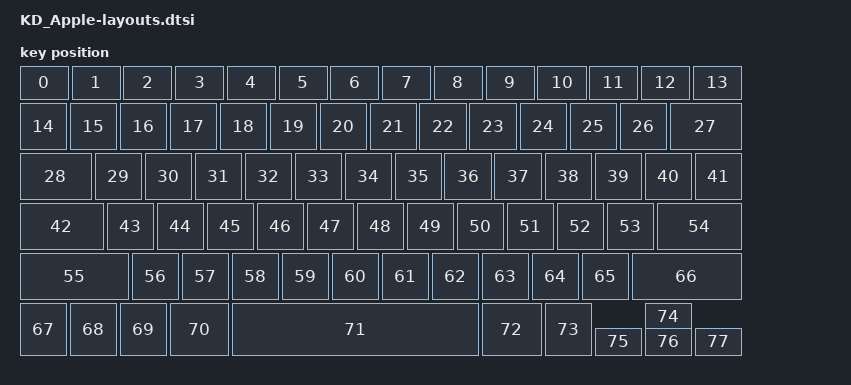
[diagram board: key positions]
#include <physical_layouts.dtsi>

/ {
    KD_Apple: KD_Apple {
        compatible = "zmk,physical-layout";
        display-name = "KD_Apple";
        transform = <&default_transform>;
        kscan = <&kscan0>;

        keys  //                     w   h    x    y     rot    rx    ry
            = <&key_physical_attrs 104  75    0    0       0     0     0>
            , <&key_physical_attrs 104  75  104    0       0     0     0>
            , <&key_physical_attrs 104  75  207    0       0     0     0>
            , <&key_physical_attrs 104  75  311    0       0     0     0>
            , <&key_physical_attrs 104  75  414    0       0     0     0>
            , <&key_physical_attrs 104  75  518    0       0     0     0>
            , <&key_physical_attrs 104  75  621    0       0     0     0>
            , <&key_physical_attrs 104  75  725    0       0     0     0>
            , <&key_physical_attrs 104  75  829    0       0     0     0>
            , <&key_physical_attrs 104  75  932    0       0     0     0>
            , <&key_physical_attrs 104  75 1036    0       0     0     0>
            , <&key_physical_attrs 104  75 1139    0       0     0     0>
            , <&key_physical_attrs 104  75 1243    0       0     0     0>
            , <&key_physical_attrs 104  75 1346    0       0     0     0>
            , <&key_physical_attrs 100 100    0   75       0     0     0>
            , <&key_physical_attrs 100 100  100   75       0     0     0>
            , <&key_physical_attrs 100 100  200   75       0     0     0>
            , <&key_physical_attrs 100 100  300   75       0     0     0>
            , <&key_physical_attrs 100 100  400   75       0     0     0>
            , <&key_physical_attrs 100 100  500   75       0     0     0>
            , <&key_physical_attrs 100 100  600   75       0     0     0>
            , <&key_physical_attrs 100 100  700   75       0     0     0>
            , <&key_physical_attrs 100 100  800   75       0     0     0>
            , <&key_physical_attrs 100 100  900   75       0     0     0>
            , <&key_physical_attrs 100 100 1000   75       0     0     0>
            , <&key_physical_attrs 100 100 1100   75       0     0     0>
            , <&key_physical_attrs 100 100 1200   75       0     0     0>
            , <&key_physical_attrs 150 100 1300   75       0     0     0>
            , <&key_physical_attrs 150 100    0  175       0     0     0>
            , <&key_physical_attrs 100 100  150  175       0     0     0>
            , <&key_physical_attrs 100 100  250  175       0     0     0>
            , <&key_physical_attrs 100 100  350  175       0     0     0>
            , <&key_physical_attrs 100 100  450  175       0     0     0>
            , <&key_physical_attrs 100 100  550  175       0     0     0>
            , <&key_physical_attrs 100 100  650  175       0     0     0>
            , <&key_physical_attrs 100 100  750  175       0     0     0>
            , <&key_physical_attrs 100 100  850  175       0     0     0>
            , <&key_physical_attrs 100 100  950  175       0     0     0>
            , <&key_physical_attrs 100 100 1050  175       0     0     0>
            , <&key_physical_attrs 100 100 1150  175       0     0     0>
            , <&key_physical_attrs 100 100 1250  175       0     0     0>
            , <&key_physical_attrs 100 100 1350  175       0     0     0>
            , <&key_physical_attrs 175 100    0  275       0     0     0>
            , <&key_physical_attrs 100 100  175  275       0     0     0>
            , <&key_physical_attrs 100 100  275  275       0     0     0>
            , <&key_physical_attrs 100 100  375  275       0     0     0>
            , <&key_physical_attrs 100 100  475  275       0     0     0>
            , <&key_physical_attrs 100 100  575  275       0     0     0>
            , <&key_physical_attrs 100 100  675  275       0     0     0>
            , <&key_physical_attrs 100 100  775  275       0     0     0>
            , <&key_physical_attrs 100 100  875  275       0     0     0>
            , <&key_physical_attrs 100 100  975  275       0     0     0>
            , <&key_physical_attrs 100 100 1075  275       0     0     0>
            , <&key_physical_attrs 100 100 1175  275       0     0     0>
            , <&key_physical_attrs 175 100 1275  275       0     0     0>
            , <&key_physical_attrs 225 100    0  375       0     0     0>
            , <&key_physical_attrs 100 100  225  375       0     0     0>
            , <&key_physical_attrs 100 100  325  375       0     0     0>
            , <&key_physical_attrs 100 100  425  375       0     0     0>
            , <&key_physical_attrs 100 100  525  375       0     0     0>
            , <&key_physical_attrs 100 100  625  375       0     0     0>
            , <&key_physical_attrs 100 100  725  375       0     0     0>
            , <&key_physical_attrs 100 100  825  375       0     0     0>
            , <&key_physical_attrs 100 100  925  375       0     0     0>
            , <&key_physical_attrs 100 100 1025  375       0     0     0>
            , <&key_physical_attrs 100 100 1125  375       0     0     0>
            , <&key_physical_attrs 225 100 1225  375       0     0     0>
            , <&key_physical_attrs 100 111    0  475       0     0     0>
            , <&key_physical_attrs 100 111  100  475       0     0     0>
            , <&key_physical_attrs 100 111  200  475       0     0     0>
            , <&key_physical_attrs 125 111  300  475       0     0     0>
            , <&key_physical_attrs 500 111  425  475       0     0     0>
            , <&key_physical_attrs 125 111  925  475       0     0     0>
            , <&key_physical_attrs 100 111 1050  475       0     0     0>
            , <&key_physical_attrs 100  61 1250  475       0     0     0>
            , <&key_physical_attrs 100  61 1150  525       0     0     0>
            , <&key_physical_attrs 100  61 1250  525       0     0     0>
            , <&key_physical_attrs 100  61 1350  525       0     0     0>
            ;
    };

    position_map {
        compatible = "zmk,physical-layout-position-map";

        complete;

        KD_Apple {
            physical-layout = <&KD_Apple>;
            positions 
            = < 0 1 2 3 4 5 6 7 8 9 10 11 12 13 >
            , < 14 15 16 17 18 19 20 21 22 23 24 25 26 27 >
            , < 28 29 30 31 32 33 34 35 36 37 38 39 40 41 >
            , < 42 43 44 45 46 47 48 49 50 51 52 53 54>
            , < 55 56 57 58 59 60 61 62 63 64 65 66 >
            , < 67 68 69 70 71 72 73 74 >
            , < 75 76 77 >
            ;
        };
    };
};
